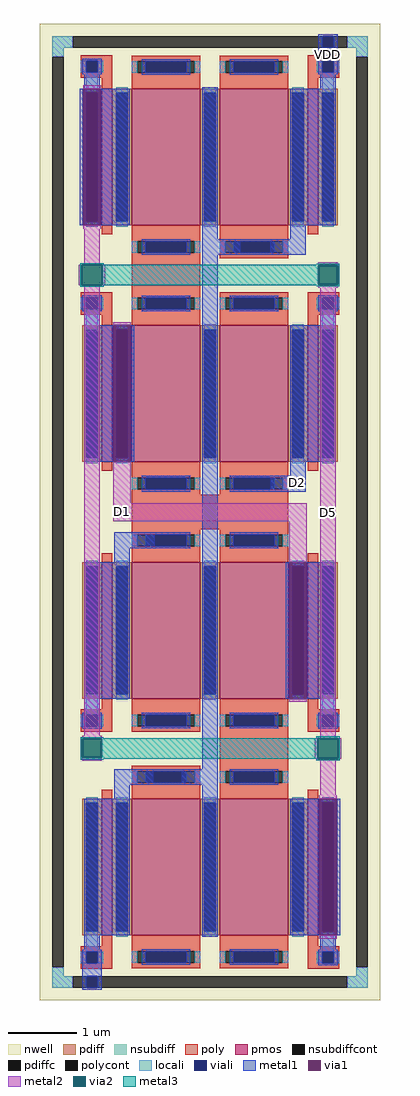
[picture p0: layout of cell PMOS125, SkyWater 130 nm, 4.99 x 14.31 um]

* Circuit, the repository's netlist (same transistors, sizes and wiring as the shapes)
** sch_path: /home/mreza/mag/PMOS125/PMOS125.sch
.subckt PMOS125 VDD D5 D2 D1
*.PININFO D1:B D2:B D5:B VDD:B
XM1 D1 D2 VDD VDD sky130_fd_pr__pfet_01v8 L=1 W=2 nf=1 m=2
XM2 D2 D2 VDD VDD sky130_fd_pr__pfet_01v8 L=1 W=2 nf=1 m=2
XM5 D5 D2 VDD VDD sky130_fd_pr__pfet_01v8 L=1 W=2 nf=1 m=2
XM4 VDD VDD VDD VDD sky130_fd_pr__pfet_01v8 L=0.15 W=2 nf=1 m=2
XM8 D5 D5 D5 VDD sky130_fd_pr__pfet_01v8 L=0.15 W=2 nf=1 m=2
XM6 D2 D2 D2 VDD sky130_fd_pr__pfet_01v8 L=0.15 W=2 nf=1 m=2
XM7 D1 D1 D1 VDD sky130_fd_pr__pfet_01v8 L=0.15 W=2 nf=1 m=2
XM3 VDD VDD VDD VDD sky130_fd_pr__pfet_01v8 L=1 W=2 nf=1 m=2
.ends
.end

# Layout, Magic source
magic
tech sky130A
magscale 1 2
<< nwell >>
rect -205 2353 793 2723
rect -205 2296 127 2353
rect 199 2296 793 2353
rect -205 1677 793 2296
rect -205 1666 520 1677
rect -205 1664 233 1666
rect -205 1588 -78 1664
rect 71 1662 233 1664
rect 71 1605 124 1662
rect 196 1605 233 1662
rect 71 1588 233 1605
rect -205 1586 233 1588
rect 336 1663 520 1666
rect 336 1606 387 1663
rect 459 1606 520 1663
rect 336 1593 520 1606
rect 696 1593 793 1677
rect 336 1586 793 1593
rect -205 967 793 1586
rect -205 959 272 967
rect -205 958 124 959
rect -205 895 -70 958
rect 53 902 124 958
rect 196 910 272 959
rect 344 965 518 967
rect 344 910 388 965
rect 196 908 388 910
rect 460 908 518 965
rect 196 902 518 908
rect 53 901 518 902
rect 669 901 793 967
rect 53 895 793 901
rect -205 300 793 895
rect -205 180 -73 300
rect 684 180 793 300
rect -205 -139 793 180
<< nsubdiff >>
rect -169 2653 -109 2687
rect 697 2653 757 2687
rect -169 2627 -135 2653
rect 723 2627 757 2653
rect -169 -69 -135 -43
rect 723 -69 757 -43
rect -169 -103 -109 -69
rect 697 -103 757 -69
<< nsubdiffcont >>
rect -109 2653 697 2687
rect -169 -43 -135 2627
rect 723 -43 757 2627
rect -109 -103 697 -69
<< poly >>
rect -85 2615 7 2631
rect -85 2581 -69 2615
rect -35 2581 7 2615
rect -85 2565 7 2581
rect -23 2533 7 2565
rect 581 2615 673 2631
rect 581 2581 623 2615
rect 657 2581 673 2615
rect 581 2565 673 2581
rect 581 2533 611 2565
rect -85 1921 7 1937
rect 65 1936 265 2036
rect -85 1887 -69 1921
rect -35 1887 7 1921
rect -85 1871 7 1887
rect -23 1839 7 1871
rect 581 1921 673 1937
rect 581 1887 623 1921
rect 657 1887 673 1921
rect 581 1871 673 1887
rect 581 1839 611 1871
rect 65 1242 523 1342
rect -23 713 7 745
rect -85 697 7 713
rect -85 663 -69 697
rect -35 663 7 697
rect -85 647 7 663
rect 581 713 611 745
rect 581 697 673 713
rect 581 663 623 697
rect 657 663 673 697
rect 323 548 523 648
rect 581 647 673 663
rect -23 19 7 51
rect -85 3 7 19
rect -85 -31 -69 3
rect -35 -31 7 3
rect -85 -47 7 -31
rect 581 19 611 51
rect 581 3 673 19
rect 581 -31 623 3
rect 657 -31 673 3
rect 581 -47 673 -31
<< polycont >>
rect -69 2581 -35 2615
rect 623 2581 657 2615
rect -69 1887 -35 1921
rect 623 1887 657 1921
rect -69 663 -35 697
rect 623 663 657 697
rect -69 -31 -35 3
rect 623 -31 657 3
<< locali >>
rect -169 2653 -109 2687
rect 697 2653 757 2687
rect -169 2627 -135 2653
rect 723 2627 757 2653
rect -85 2581 -69 2615
rect -35 2581 -19 2615
rect 607 2581 623 2615
rect 657 2581 673 2615
rect -69 2533 -35 2581
rect 623 2521 657 2581
rect -85 1887 -69 1921
rect -35 1887 -19 1921
rect 607 1887 623 1921
rect 657 1887 673 1921
rect -69 1839 -35 1887
rect 623 1839 657 1887
rect -69 697 -35 745
rect 623 697 657 745
rect -85 663 -69 697
rect -35 663 -19 697
rect 607 663 623 697
rect 657 663 673 697
rect -69 3 -35 51
rect 623 3 657 51
rect -85 -31 -69 3
rect -35 -31 -19 3
rect 607 -31 623 3
rect 657 -31 673 3
rect -169 -69 -135 -43
rect 723 -69 757 -43
rect -169 -103 -109 -69
rect 697 -103 757 -69
<< viali >>
rect 623 2653 657 2687
rect -69 2581 -35 2615
rect 623 2581 657 2615
rect -69 1887 -35 1921
rect 623 1887 657 1921
rect -69 663 -35 697
rect 623 663 657 697
rect -69 -31 -35 3
rect 623 -31 657 3
rect -69 -103 -35 -69
<< metal1 >>
rect 611 2687 669 2693
rect 611 2653 623 2687
rect 657 2653 669 2687
rect -81 2615 -23 2621
rect -81 2581 -69 2615
rect -35 2581 -23 2615
rect -81 2575 -23 2581
rect 611 2615 669 2653
rect 611 2581 623 2615
rect 657 2581 669 2615
rect 611 2575 669 2581
rect -75 2533 -29 2575
rect -88 2133 -78 2533
rect -26 2133 59 2533
rect 271 2092 317 2537
rect 617 2533 663 2575
rect 529 2133 663 2533
rect 529 2092 575 2133
rect 271 2086 382 2092
rect 271 2052 383 2086
rect 271 2046 382 2052
rect 471 2046 575 2092
rect -81 1921 -23 1927
rect -81 1887 -69 1921
rect -35 1887 -23 1921
rect -81 1881 -23 1887
rect -75 1839 -29 1881
rect -75 1439 10 1839
rect 62 1439 72 1839
rect 13 1186 132 1232
rect 13 1145 59 1186
rect -75 745 59 1145
rect -75 703 -29 745
rect -81 697 -23 703
rect -81 663 -69 697
rect -35 663 -23 697
rect -81 657 -23 663
rect 271 538 317 2046
rect 611 1921 669 1927
rect 611 1887 623 1921
rect 657 1887 669 1921
rect 611 1881 669 1887
rect 617 1839 663 1881
rect 529 1439 663 1839
rect 529 1398 575 1439
rect 472 1352 575 1398
rect 516 745 526 1145
rect 578 745 663 1145
rect 617 703 663 745
rect 611 697 669 703
rect 611 663 623 697
rect 657 663 669 697
rect 611 657 669 663
rect 13 492 128 538
rect 211 492 317 538
rect 13 451 59 492
rect -75 51 59 451
rect -75 9 -29 51
rect 271 47 317 492
rect 529 51 614 451
rect 666 51 676 451
rect 617 9 663 51
rect -81 3 -23 9
rect -81 -31 -69 3
rect -35 -31 -23 3
rect -81 -69 -23 -31
rect 611 3 669 9
rect 611 -31 623 3
rect 657 -31 669 3
rect 611 -37 669 -31
rect -81 -103 -69 -69
rect -35 -103 -23 -69
rect -81 -109 -23 -103
<< via1 >>
rect -78 2133 -26 2533
rect 10 1439 62 1839
rect 526 745 578 1145
rect 614 51 666 451
<< metal2 >>
rect -78 2533 -26 2543
rect -78 2123 -26 2133
rect -75 2017 -29 2123
rect -91 1957 -82 2017
rect -22 1957 -13 2017
rect 612 2015 668 2024
rect -75 636 -29 1957
rect 612 1950 668 1959
rect 10 1839 62 1849
rect 10 1317 62 1439
rect 10 1265 578 1317
rect 526 1145 578 1265
rect 526 735 578 745
rect -80 627 -24 636
rect 617 629 663 1950
rect -80 562 -24 571
rect 601 569 610 629
rect 670 569 679 629
rect 617 461 663 569
rect 614 451 666 461
rect 614 41 666 51
<< via2 >>
rect -82 1957 -22 2017
rect 612 1959 668 2015
rect -80 571 -24 627
rect 610 569 670 629
<< metal3 >>
rect -87 2017 -17 2022
rect 607 2017 673 2020
rect -87 1957 -82 2017
rect -22 2015 673 2017
rect -22 1959 612 2015
rect 668 1959 673 2015
rect -22 1957 673 1959
rect -87 1952 -17 1957
rect 607 1954 673 1957
rect -85 629 -19 632
rect 605 629 675 634
rect -85 627 610 629
rect -85 571 -80 627
rect -24 571 610 627
rect -85 569 610 571
rect 670 569 675 629
rect -85 566 -19 569
rect 605 564 675 569
use sky130_fd_pr__pfet_01v8_2ZH9AN  sky130_fd_pr__pfet_01v8_2ZH9AN_0
transform 1 0 596 0 1 945
box -109 -262 109 262
use sky130_fd_pr__pfet_01v8_2ZH9AN  sky130_fd_pr__pfet_01v8_2ZH9AN_1
transform 1 0 596 0 1 2333
box -109 -262 109 262
use sky130_fd_pr__pfet_01v8_2ZH9AN  sky130_fd_pr__pfet_01v8_2ZH9AN_2
transform 1 0 -8 0 1 2333
box -109 -262 109 262
use sky130_fd_pr__pfet_01v8_2ZH9AN  sky130_fd_pr__pfet_01v8_2ZH9AN_3
transform 1 0 -8 0 1 945
box -109 -262 109 262
use sky130_fd_pr__pfet_01v8_2ZH9AN  sky130_fd_pr__pfet_01v8_2ZH9AN_4
transform 1 0 -8 0 1 251
box -109 -262 109 262
use sky130_fd_pr__pfet_01v8_2ZH9AN  sky130_fd_pr__pfet_01v8_2ZH9AN_5
transform 1 0 596 0 1 251
box -109 -262 109 262
use sky130_fd_pr__pfet_01v8_2ZH9AN  sky130_fd_pr__pfet_01v8_2ZH9AN_6
transform 1 0 596 0 1 1639
box -109 -262 109 262
use sky130_fd_pr__pfet_01v8_2ZH9AN  sky130_fd_pr__pfet_01v8_2ZH9AN_7
transform 1 0 -8 0 1 1639
box -109 -262 109 262
use sky130_fd_pr__pfet_01v8_SDE6B7  sky130_fd_pr__pfet_01v8_SDE6B7_0
transform 1 0 294 0 1 2333
box -323 -300 323 300
use sky130_fd_pr__pfet_01v8_SDE6B7  sky130_fd_pr__pfet_01v8_SDE6B7_1
transform 1 0 294 0 1 1639
box -323 -300 323 300
use sky130_fd_pr__pfet_01v8_SDE6B7  sky130_fd_pr__pfet_01v8_SDE6B7_2
transform 1 0 294 0 1 945
box -323 -300 323 300
use sky130_fd_pr__pfet_01v8_SDE6B7  sky130_fd_pr__pfet_01v8_SDE6B7_3
transform 1 0 294 0 1 251
box -323 -300 323 300
<< labels >>
flabel metal1 640 2635 640 2635 0 FreeSans 160 0 0 0 VDD
port 1 nsew
flabel metal2 641 1290 641 1290 0 FreeSans 160 0 0 0 D5
port 2 nsew
flabel metal1 552 1378 552 1378 0 FreeSans 160 0 0 0 D2
port 3 nsew
flabel metal2 36 1293 36 1293 0 FreeSans 160 0 0 0 D1
port 4 nsew
<< end >>

# cell sky130_fd_pr__pfet_01v8_2ZH9AN: kit device sky130_fd_pr__pfet_01v8, w 2 l 0.15 m 1 nf 1 diffcov 100 polycov 100 guard 0 glc 1 grc 1 gtc 1 gbc 1 tbcov 100 rlcov 100 topc 0 botc 0 poverlap 0 doverlap 1 lmin 0.15 wmin 0.42 compatible {sky130_fd_pr__pfet_01v8 sky130_fd_pr__pfet_01v8_lvt sky130_fd_pr__pfet_01v8_hvt sky130_fd_pr__pfet_g5v0d10v5} full_metal 1 viasrc 100 viadrn 100 viagate 100 viagb 0 viagr 0 viagl 0 viagt 0

# cell sky130_fd_pr__pfet_01v8_SDE6B7: kit device sky130_fd_pr__pfet_01v8, w 2 l 1 m 1 nf 2 diffcov 100 polycov 100 guard 0 glc 1 grc 1 gtc 1 gbc 1 tbcov 100 rlcov 100 topc 1 botc 1 poverlap 0 doverlap 1 lmin 0.15 wmin 0.42 compatible {sky130_fd_pr__pfet_01v8 sky130_fd_pr__pfet_01v8_lvt sky130_fd_pr__pfet_01v8_hvt sky130_fd_pr__pfet_g5v0d10v5} full_metal 1 viasrc 100 viadrn 100 viagate 70 viagb 0 viagr 0 viagl 0 viagt 0
